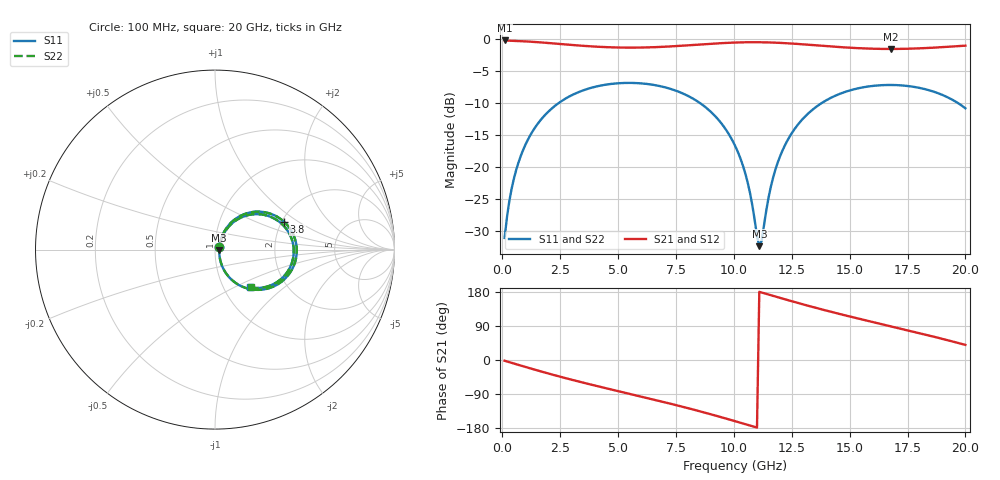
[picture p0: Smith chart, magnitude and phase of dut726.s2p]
! Touchstone file exported from HFSS 2026.1.0
!  File:  C:/ffzhzh/LocalFiles/Ansys_Project_Files/temp_train_TSV_RDL_726_1783202364_43440.aedt
!  Generated:  06:17:02 AM Jul  5, 2026
!  Design:  TSV_RDL
!  Project:  temp_train_TSV_RDL_726_1783202364_43440
! Variables:
!  h_bsmrdl = 3.37um
!  h_ox = 20um
!  h_rdl = 5um
!  h_sub = 74.94um
!  h_tmrdl = 4.87um
!  h_tsv = 74.94um
!  h_via = 3um
!  l_bsmrdl = 848.21um
!  l_sub = 5574.78um
!  l_tmrdl = 618.59um
!  m_sub = 200um
!  pitch = 45.33um
!  r_tsv = 3.71um
!  s_tmrdl = 10um
!  w_bsmrdl = 25.98um
!  w_sub = 500um
!  w_tmrdl = 25.95um
!  x_tsv_center1 = 631.565um
!  x_tsv_center2 = 1505.755um
!  x_tsv_center3 = 2150.295um
!  x_tsv_center4 = 3024.485um
!  x_tsv_center5 = 3669.025um
!  x_tsv_center6 = 4543.215um
# GHz S MA R 50.000000
! Terminal data exported
! Port[1] = TM_RDL1_1_T1
! Port[2] = TM_RDL5_1_T1
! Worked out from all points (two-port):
!   200 points, 100 MHz to 20 GHz, reference 50 ohm
!   highest |S21| = -0.20 dB at 100 MHz (marker M1); lowest = -1.5 dB at 16.8 GHz (marker M2)
!   |S21| within 3 dB of the highest: start of sweep to end of sweep
!   lowest |S11| = -32.3 dB at 11.1 GHz (marker M3), VSWR 1.05, Z = 52.4 - j0.367 ohm
!   |S11| at or under -10 dB: start of sweep to 2.427 GHz; 8.547 GHz to 13.78 GHz (5.236 GHz wide, 46.9 % of centre); 19.69 GHz to end of sweep
!   |S22| runs from -32.3 to -6.8 dB; largest |S21 - S12| = 1.8e-14
!   S11 on the Smith chart (normalised r, x): 100 MHz: 1.05, +0.03; 3.8 GHz: 2.06, +0.77; 20 GHz: 1.33, -0.61
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0.1  0.02802 35.3  0.9775 -2.0  0.9775 -2.0  0.02802 35.3
! Gamma 0 0 0 0
! Port Impedance 50 0 50 0
0.3  0.05386 56.9  0.9741 -5.7  0.9741 -5.7  0.05386 56.9
0.5  0.08126 61.9  0.971 -9.3  0.971 -9.3  0.08126 61.9
1.1  0.1633 60.1  0.9593 -20.2  0.9593 -20.2  0.1633 60.1
2.1  0.2836 46.8  0.9302 -37.5  0.9302 -37.5  0.2836 46.8
3.5  0.3988 26.2  0.8872 -59.9  0.8872 -59.9  0.3988 26.2
3.8  0.4151 21.9  0.8798 -64.4  0.8798 -64.4  0.4151 21.9
5.3  0.4553 0.9  0.8595 -86.4  0.8595 -86.4  0.4553 0.9
6.8  0.4303 -19.9  0.8695 -108.4  0.8695 -108.4  0.4303 -19.9
8.8  0.292 -48.7  0.9156 -139.8  0.9156 -139.8  0.292 -48.7
10.1  0.141 -65.4  0.9421 -162.2  0.9421 -162.2  0.141 -65.3
10.6  0.07558 -65.3  0.9465 -171.1  0.9465 -171.1  0.07563 -65.1
11.1  0.02416 -8.3  0.9466 179.9  0.9466 179.9  0.0244 -8.2
11.2  0.02662 21.2  0.9461 178.1  0.9461 178.1  0.02684 21.0
11.6  0.07063 58.9  0.9423 170.9  0.9423 170.9  0.07074 58.7
12  0.1221 60.6  0.9359 163.8  0.9359 163.8  0.1222 60.5
13.4  0.2816 44.0  0.9002 140.0  0.9002 140.0  0.2816 44.0
14.9  0.3923 22.9  0.8602 116.4  0.8602 116.4  0.3924 22.8
16.7  0.4391 -1.7  0.839 90.0  0.839 90.0  0.4391 -1.6
16.8  0.439 -3.0  0.8389 88.6  0.8389 88.6  0.439 -3.0
18.5  0.3959 -26.1  0.8563 63.5  0.8563 63.5  0.3959 -26.1
20  0.2887 -46.8  0.8903 39.8  0.8903 39.8  0.2887 -46.8
